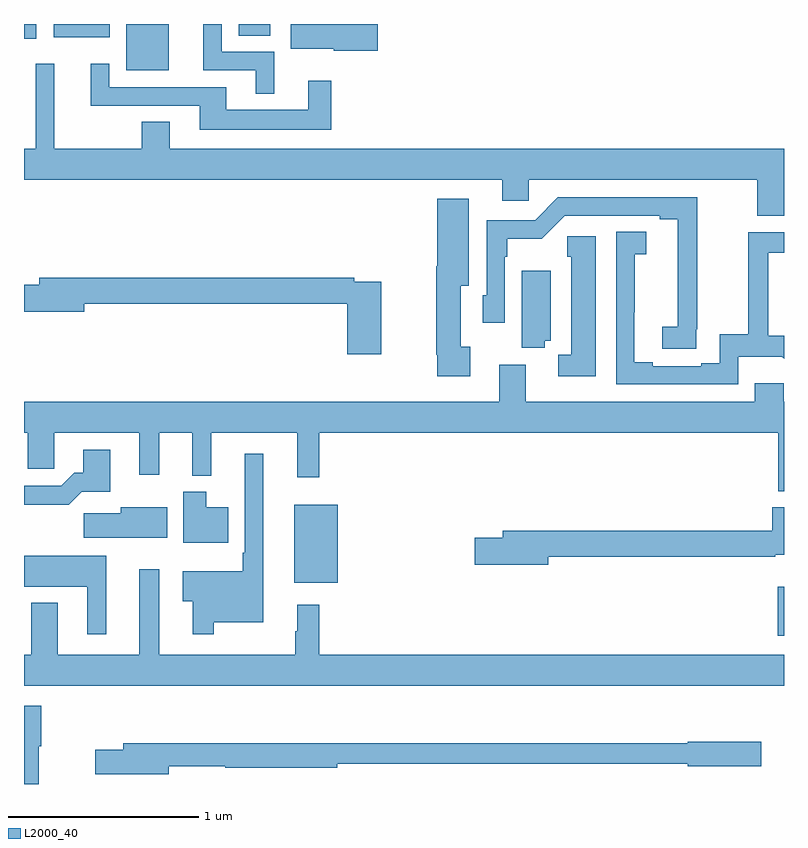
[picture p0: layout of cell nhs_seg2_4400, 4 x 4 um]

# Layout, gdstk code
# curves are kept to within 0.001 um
import gdstk
lib = gdstk.Library(unit=1e-6, precision=1e-09)
def R(c, l, rs):  # rectangles x0, y0, x1, y1
    for r in rs: c.add(gdstk.rectangle(r[:2], r[2:], *l))
def P(c, l, *ps):  # polygons
    for p in ps: c.add(gdstk.Polygon(p, *l))
L2000_40 = (2000, 40)

nhs_seg2_4400 = lib.new_cell('nhs_seg2_4400')
R(nhs_seg2_4400, L2000_40, [(352.968,634.58,353,634.837), (350.423,634.859,350.65,635.269), (349.538,637.556,349.762,637.8), (349,637.722,349.065,637.8), (349.157,637.73,349.45,637.8), (350.129,637.738,350.296,637.8)])
P(nhs_seg2_4400, L2000_40, [(350.863,637.8),(350.405,637.8),(350.405,637.67),(350.631,637.67),(350.631,637.658),(350.863,637.658)],
  [(350.317,637.653),(350.04,637.653),(350.04,637.8),(349.943,637.8),(349.943,637.557),(350.219,637.557),(350.219,637.433),(350.317,637.433)],
  [(350.617,637.501),(350.495,637.501),(350.495,637.348),(350.065,637.348),(350.065,637.467),(349.449,637.467),(349.449,637.591),(349.352,637.591),(349.352,637.371),(349.925,637.371),(349.925,637.244),(350.617,637.244)],
  [(353,637.144),(349.768,637.144),(349.768,637.286),(349.621,637.286),(349.621,637.144),(349.16,637.144),(349.16,637.591),(349.061,637.591),(349.061,637.144),(349,637.144),(349,636.98),(351.518,636.98),(351.518,636.87),(351.657,636.87),(351.657,636.98),(352.858,636.98),(352.858,636.79),(353,636.79)],
  [(352.538,636.193),(352.544,636.193),(352.544,636.888),(351.81,636.888),(351.69,636.768),(351.435,636.768),(351.435,636.372),(351.414,636.372),(351.414,636.228),(351.531,636.228),(351.531,636.575),(351.544,636.575),(351.544,636.671),(351.725,636.671),(351.846,636.792),(352.346,636.792),(352.346,636.772),(352.442,636.772),(352.441,636.206),(352.359,636.206),(352.359,636.091),(352.538,636.091)],
  [(351.349,636.102),(351.298,636.102),(351.298,636.422),(351.34,636.422),(351.34,636.88),(351.176,636.88),(351.176,636.526),(351.169,636.526),(351.169,636.058),(351.176,636.058),(351.176,635.946),(351.349,635.946)],
  [(352.758,636.05),(352.987,636.05),(353,636.037),(353,636.16),(352.916,636.16),(352.916,636.597),(353,636.597),(353,636.705),(352.813,636.705),(352.813,636.167),(352.662,636.167),(352.662,636.014),(352.565,636.014),(352.565,636),(352.309,636),(352.309,636.02),(352.213,636.02),(352.213,636.283),(352.215,636.283),(352.215,636.587),(352.276,636.587),(352.276,636.707),(352.116,636.707),(352.116,635.904),(352.758,635.904)],
  [(352.009,636.682),(351.859,636.682),(351.859,636.576),(351.881,636.576),(351.881,636.06),(351.813,636.06),(351.813,635.945),(352.009,635.945)],
  [(351.74,636.134),(351.772,636.134),(351.772,636.502),(351.62,636.502),(351.62,636.097),(351.74,636.097)],
  [(350.88,636.444),(350.738,636.444),(350.738,636.464),(349.079,636.464),(349.079,636.428),(349,636.428),(349,636.286),(349.318,636.286),(349.318,636.328),(350.702,636.328),(350.702,636.063),(350.88,636.063)],
  [(353,635.812),(352.999,635.812),(352.999,635.91),(352.847,635.91),(352.847,635.812),(351.64,635.812),(351.64,636.007),(351.5,636.007),(351.5,635.812),(349,635.812),(349,635.648),(349.019,635.648),(349.019,635.458),(349.158,635.458),(349.158,635.648),(349.607,635.648),(349.607,635.427),(349.711,635.427),(349.711,635.648),(349.886,635.648),(349.886,635.423),(349.985,635.423),(349.985,635.648),(350.438,635.648),(350.438,635.415),(350.555,635.415),(350.555,635.648),(352.969,635.648),(352.969,635.342),(353,635.342)],
  [(349.304,635.339),(349.453,635.339),(349.453,635.56),(349.313,635.56),(349.313,635.437),(349.264,635.437),(349.197,635.37),(349,635.37),(349,635.27),(349.235,635.27)],
  [(349.999,634.652),(350.26,634.652),(350.26,635.539),(350.163,635.539),(350.163,635.017),(350.151,635.017),(350.151,634.921),(349.836,634.921),(349.836,634.763),(349.889,634.763),(349.889,634.587),(349.999,634.587)],
  [(350.074,635.257),(349.96,635.257),(349.96,635.338),(349.838,635.338),(349.838,635.069),(350.074,635.069)],
  [(351.76,634.996),(352.953,634.996),(352.953,635.006),(353,635.006),(353,635.257),(352.937,635.257),(352.937,635.132),(351.521,635.132),(351.521,635.096),(351.372,635.096),(351.372,634.954),(351.76,634.954)],
  [(349.753,635.257),(349.508,635.257),(349.508,635.225),(349.314,635.225),(349.314,635.096),(349.753,635.096)],
  [(349.432,635.002),(349,635.002),(349,634.838),(349.334,634.838),(349.334,634.587),(349.432,634.587)],
  [(353,634.48),(350.555,634.48),(350.555,634.744),(350.438,634.744),(350.438,634.604),(350.427,634.604),(350.427,634.48),(349.711,634.48),(349.711,634.93),(349.607,634.93),(349.607,634.48),(349.177,634.48),(349.177,634.753),(349.037,634.753),(349.037,634.48),(349,634.48),(349,634.316),(353,634.316)],
  [(349.078,634),(349.091,634),(349.091,634.213),(349,634.213),(349,633.8),(349.078,633.8)],
  [(349.762,633.894),(350.058,633.894),(350.058,633.886),(350.648,633.886),(350.648,633.906),(352.494,633.906),(352.494,633.893),(352.879,633.893),(352.879,634.023),(352.494,634.023),(352.494,634.015),(349.523,634.015),(349.523,633.981),(349.374,633.981),(349.374,633.851),(349.762,633.851)])

lib.write_gds('nhs_seg2_4400.gds')
